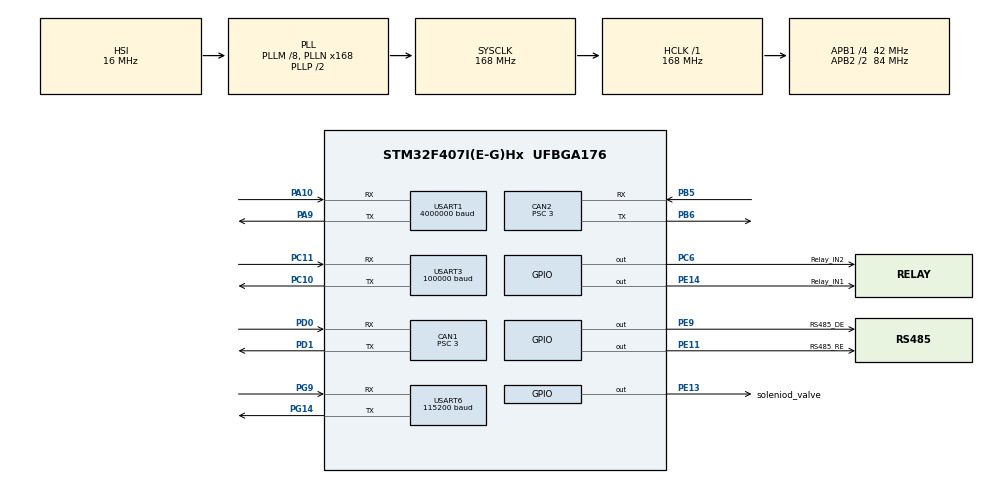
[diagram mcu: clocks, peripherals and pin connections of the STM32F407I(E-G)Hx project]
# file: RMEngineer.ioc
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CAN1.BS1=CAN_BS1_10TQ
CAN1.BS2=CAN_BS2_3TQ
CAN1.CalculateBaudRate=1000000
CAN1.CalculateTimeQuantum=71.42857142857143
CAN1.Prescaler=3
CAN2.BS1=CAN_BS1_10TQ
CAN2.BS2=CAN_BS2_3TQ
CAN2.CalculateBaudRate=1000000
CAN2.CalculateTimeQuantum=71.42857142857143
CAN2.Prescaler=3
Dma.Request0=USART3_RX
Dma.Request1=USART6_RX
Dma.USART3_RX.0.Direction=DMA_PERIPH_TO_MEMORY
Dma.USART3_RX.0.FIFOMode=DMA_FIFOMODE_DISABLE
Dma.USART3_RX.0.Instance=DMA1_Stream1
Dma.USART3_RX.0.MemDataAlignment=DMA_MDATAALIGN_BYTE
Dma.USART3_RX.0.MemInc=DMA_MINC_ENABLE
Dma.USART3_RX.0.Mode=DMA_CIRCULAR
Dma.USART3_RX.0.PeriphDataAlignment=DMA_PDATAALIGN_BYTE
Dma.USART3_RX.0.PeriphInc=DMA_PINC_DISABLE
Dma.USART3_RX.0.Priority=DMA_PRIORITY_VERY_HIGH
Dma.USART6_RX.1.Direction=DMA_PERIPH_TO_MEMORY
Dma.USART6_RX.1.FIFOMode=DMA_FIFOMODE_DISABLE
Dma.USART6_RX.1.Instance=DMA2_Stream1
Dma.USART6_RX.1.MemDataAlignment=DMA_MDATAALIGN_BYTE
Dma.USART6_RX.1.MemInc=DMA_MINC_ENABLE
Dma.USART6_RX.1.Mode=DMA_CIRCULAR
Dma.USART6_RX.1.PeriphDataAlignment=DMA_PDATAALIGN_BYTE
Dma.USART6_RX.1.PeriphInc=DMA_PINC_DISABLE
Dma.USART6_RX.1.Priority=DMA_PRIORITY_HIGH
Mcu.Family=STM32F4
Mcu.Name=STM32F407I(E-G)Hx
Mcu.Package=UFBGA176
NVIC.CAN1_RX0_IRQn=true\:0\:0\:false\:false\:true\:true\:true\:true
NVIC.CAN2_RX0_IRQn=true\:0\:0\:false\:false\:true\:true\:true\:true
NVIC.DMA1_Stream1_IRQn=true\:0\:0\:false\:false\:true\:false\:true\:true
NVIC.DMA2_Stream1_IRQn=true\:0\:0\:false\:false\:true\:false\:true\:true
NVIC.PriorityGroup=NVIC_PRIORITYGROUP_4
NVIC.TIM2_IRQn=true\:0\:0\:false\:false\:true\:true\:true\:true
NVIC.USART3_IRQn=true\:0\:0\:false\:false\:true\:true\:true\:true
NVIC.USART6_IRQn=true\:0\:0\:false\:false\:true\:true\:true\:true
PA10.Mode=Asynchronous
PA10.Signal=USART1_RX
PA13.Mode=Serial_Wire
PA13.Signal=SYS_JTMS-SWDIO
PA14.Mode=Serial_Wire
PA14.Signal=SYS_JTCK-SWCLK
PA9.Mode=Asynchronous
PA9.Signal=USART1_TX
PB5.Mode=CAN_Activate
PB5.Signal=CAN2_RX
PB6.Mode=CAN_Activate
PB6.Signal=CAN2_TX
PC10.Mode=Asynchronous
PC10.Signal=USART3_TX
PC11.Mode=Asynchronous
PC11.Signal=USART3_RX
PC6.GPIO_Label=Relay_IN2
PC6.GPIO_PuPd=GPIO_PULLUP
PC6.Signal=GPIO_Output
PD0.Mode=CAN_Activate
PD0.Signal=CAN1_RX
PD1.Mode=CAN_Activate
PD1.Signal=CAN1_TX
PE11.GPIO_Label=RS485_RE
PE11.Signal=GPIO_Output
PE13.GPIO_Label=soleniod_valve
PE13.GPIO_ModeDefaultOutputPP=GPIO_MODE_OUTPUT_PP
PE13.GPIO_PuPd=GPIO_PULLUP
PE13.PinState=GPIO_PIN_RESET
PE13.Signal=GPIO_Output
PE14.GPIO_Label=Relay_IN1
PE14.GPIO_ModeDefaultOutputPP=GPIO_MODE_OUTPUT_PP
PE14.GPIO_PuPd=GPIO_PULLUP
PE14.Signal=GPIO_Output
PE9.GPIO_Label=RS485_DE
PE9.GPIO_PuPd=GPIO_NOPULL
PE9.Signal=GPIO_Output
PG14.Mode=Asynchronous
PG14.Signal=USART6_TX
PG9.Mode=Asynchronous
PG9.Signal=USART6_RX
PH0-OSC_IN.Mode=HSE-External-Oscillator
PH0-OSC_IN.Signal=RCC_OSC_IN
PH1-OSC_OUT.Mode=HSE-External-Oscillator
PH1-OSC_OUT.Signal=RCC_OSC_OUT
ProjectManager.HeapSize=0x200
ProjectManager.StackSize=0x400
ProjectManager.TargetToolchain=MDK-ARM V5.27
RCC.48MHZClocksFreq_Value=84000000
RCC.AHBFreq_Value=168000000
RCC.APB1CLKDivider=RCC_HCLK_DIV4
RCC.APB1Freq_Value=42000000
RCC.APB1TimFreq_Value=84000000
RCC.APB2CLKDivider=RCC_HCLK_DIV2
RCC.APB2Freq_Value=84000000
RCC.APB2TimFreq_Value=168000000
RCC.CortexFreq_Value=168000000
RCC.HCLKFreq_Value=168000000
RCC.HSE_VALUE=25000000
RCC.HSI_VALUE=16000000
RCC.LSE_VALUE=32768
RCC.PLLM=8
RCC.PLLN=168
RCC.SYSCLKFreq_VALUE=168000000
RCC.SYSCLKSource=RCC_SYSCLKSOURCE_PLLCLK
RCC.VCOOutputFreq_Value=336000000
STMicroelectronics.X-CUBE-ALGOBUILD.1.3.0.LibraryCcDSPOoLibraryJjDSPOoLibrary=true
TIM2.Period=1000-1
TIM2.Prescaler=84-1
USART1.BaudRate=4000000
USART1.VirtualMode=VM_ASYNC
USART3.BaudRate=100000
USART3.Parity=PARITY_EVEN
USART3.VirtualMode=VM_ASYNC
USART3.WordLength=WORDLENGTH_9B
USART6.BaudRate=115200
USART6.VirtualMode=VM_ASYNC
VP_STMicroelectronics.X-CUBE-ALGOBUILD_VS_DSPOoLibraryJjLibrary_1.3.0_1.3.0.Mode=DSPOoLibraryJjLibrary
VP_TIM2_VS_ClockSourceINT.Mode=Internal
board=custom

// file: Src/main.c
/* USER CODE BEGIN Header */
/**
  ******************************************************************************
  * @file           : main.c
  * @brief          : Main program body
  ******************************************************************************
  * @attention
  *
  * <h2><center>&copy; Copyright (c) 2024 STMicroelectronics.
  * All rights reserved.</center></h2>
  *
  * This software component is licensed by ST under BSD 3-Clause license,
  * the "License"; You may not use this file except in compliance with the
  * License. You may obtain a copy of the License at:
  *                        opensource.org/licenses/BSD-3-Clause
  *
  ******************************************************************************
  */
/* USER CODE END Header */
#include "main.h"
#include "can.h"
#include "dma.h"
#include "tim.h"
#include "usart.h"
#include "gpio.h"

/* USER CODE BEGIN Includes */
#include "bsp_can.h"
#include "rc_receive.h"
#include "chassis_task.h"
#include "gimbal_task.h"
#include "endeffector_task.h"
//#include "3508_driver.h"
#include "MG4005V2_driver.h"
#include "jy901.h"
#include "motor_control.h"
/* USER CODE END Includes */

/* USER CODE BEGIN PTD */
int time_witch =0;
int16_t targetspeed=0;
int targetecd=0;
/* USER CODE END PTD */

/* USER CODE BEGIN PD */
struct FILE{
	int handle;
};
int fputc(int ch , struct FILE *f)
{
	HAL_UART_Transmit(&huart1,(uint8_t*)&ch,1,0xffff);
	return ch;

};
/* USER CODE END PD */

void SystemClock_Config(void);
/* USER CODE BEGIN PFP */
void HAL_TIM_PeriodElapsedCallback(TIM_HandleTypeDef* htim)
{
	if(htim->Instance == TIM2)
	{
		time_witch++;
		static int task_tim=0;
		task_tim++;
		if(task_tim==5)
		{
			//Demo();
			Chassis_WheatWheel_Solution(rc_user.x,rc_user.y,rc_user.z,1);
			Gimbal_Task(rc_user.updown,rc_user.pushpull);
			switch(RC_Ctl.rc.s2)
			{
				case AIR_PUMP_POWER_ENABLE_MODE:
					SolenoidValve_Control(SOLENOID_VALVE_CLOSE);
					AirPump_Control(AIR_PUMP_POWER_OPEN);
					break;
				case AIR_PUMP_POWER_DISABLE_MODE:
					SolenoidValve_Control(SOLENOID_VALVE_CLOSE);
					AirPump_Control(AIR_PUMP_POWER_CLOSE);
					break;
				case SOLENOID_VALVE_ENABLE_MODE:
					SolenoidValve_Control(SOLENOID_VALVE_OPEN);
					AirPump_Control(AIR_PUMP_POWER_CLOSE);
					break;
				default:
				break;
			}
			Endeffector_Task(rc_user.x,rc_user.y,rc_user.z);
			task_tim=0;
		}

	}
}
/* USER CODE END PFP */

int main(void)
{

  /* MCU Configuration--------------------------------------------------------*/

  /* Reset of all peripherals, Initializes the Flash interface and the Systick. */
  HAL_Init();

  /* Configure the system clock */
  SystemClock_Config();

  /* Initialize all configured peripherals */
  MX_GPIO_Init();
  MX_DMA_Init();
  MX_CAN1_Init();
  MX_CAN2_Init();
  MX_TIM2_Init();
  MX_USART1_UART_Init();
  MX_USART3_UART_Init();
  MX_USART6_UART_Init();
  /* USER CODE BEGIN 2 */
  HAL_TIM_Base_Start_IT(&htim2);
  can_filter_init();
  RC_Receive_Init();
  Chassis_Init();
  Gimbal_Init();
  JY901_Init();

  /* USER CODE END 2 */

  /* Infinite loop */
  while (1)
  {

    /* USER CODE BEGIN 3 */
	  	//SERVO_Send_recv(&yaw_motor_send, &yaw_motor_rev);
  }
  /* USER CODE END 3 */
}

void SystemClock_Config(void)
{
  RCC_OscInitTypeDef RCC_OscInitStruct = {0};
  RCC_ClkInitTypeDef RCC_ClkInitStruct = {0};

  /** Configure the main internal regulator output voltage
  */
  __HAL_RCC_PWR_CLK_ENABLE();
  __HAL_PWR_VOLTAGESCALING_CONFIG(PWR_REGULATOR_VOLTAGE_SCALE1);

  /** Initializes the RCC Oscillators according to the specified parameters
  * in the RCC_OscInitTypeDef structure.
  */
  RCC_OscInitStruct.OscillatorType = RCC_OSCILLATORTYPE_HSI;
  RCC_OscInitStruct.HSIState = RCC_HSI_ON;
  RCC_OscInitStruct.HSICalibrationValue = RCC_HSICALIBRATION_DEFAULT;
  RCC_OscInitStruct.PLL.PLLState = RCC_PLL_ON;
  RCC_OscInitStruct.PLL.PLLSource = RCC_PLLSOURCE_HSI;
  RCC_OscInitStruct.PLL.PLLM = 8;
  RCC_OscInitStruct.PLL.PLLN = 168;
  RCC_OscInitStruct.PLL.PLLP = RCC_PLLP_DIV2;
  RCC_OscInitStruct.PLL.PLLQ = 4;
  if (HAL_RCC_OscConfig(&RCC_OscInitStruct) != HAL_OK)
  {
    Error_Handler();
  }

  /** Initializes the CPU, AHB and APB buses clocks
  */
  RCC_ClkInitStruct.ClockType = RCC_CLOCKTYPE_HCLK|RCC_CLOCKTYPE_SYSCLK
                              |RCC_CLOCKTYPE_PCLK1|RCC_CLOCKTYPE_PCLK2;
  RCC_ClkInitStruct.SYSCLKSource = RCC_SYSCLKSOURCE_PLLCLK;
  RCC_ClkInitStruct.AHBCLKDivider = RCC_SYSCLK_DIV1;
  RCC_ClkInitStruct.APB1CLKDivider = RCC_HCLK_DIV4;
  RCC_ClkInitStruct.APB2CLKDivider = RCC_HCLK_DIV2;

  if (HAL_RCC_ClockConfig(&RCC_ClkInitStruct, FLASH_LATENCY_5) != HAL_OK)
  {
    Error_Handler();
  }
}

void Error_Handler(void)
{
}
